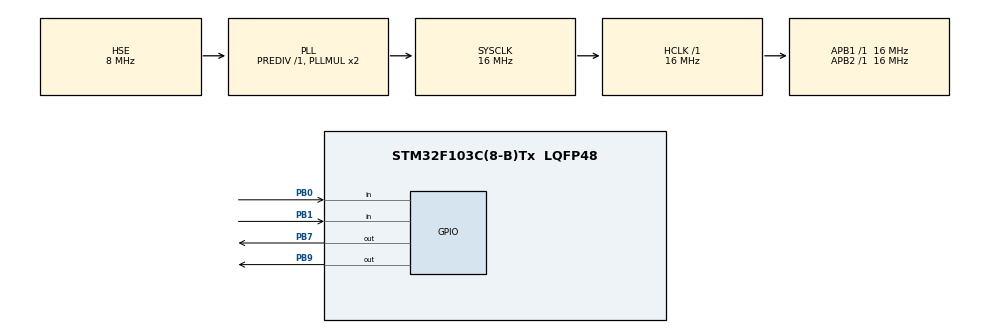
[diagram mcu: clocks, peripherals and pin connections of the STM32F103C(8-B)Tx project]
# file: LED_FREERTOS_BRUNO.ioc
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FREERTOS.Tasks01=defaultTask,24,128,StartDefaultTask,Default,NULL,Dynamic,NULL,NULL
Mcu.Family=STM32F1
Mcu.Name=STM32F103C(8-B)Tx
Mcu.Package=LQFP48
NVIC.PriorityGroup=NVIC_PRIORITYGROUP_4
NVIC.TIM1_UP_IRQn=true\:0\:0\:false\:false\:true\:false\:false\:true\:true
NVIC.TimeBase=TIM1_UP_IRQn
NVIC.TimeBaseIP=TIM1
PA13.Mode=Serial_Wire
PA13.Signal=SYS_JTMS-SWDIO
PA14.Mode=Serial_Wire
PA14.Signal=SYS_JTCK-SWCLK
PB0.GPIO_PuPd=GPIO_PULLUP
PB0.Signal=GPIO_Input
PB1.GPIO_PuPd=GPIO_PULLUP
PB1.Signal=GPIO_Input
PB7.Signal=GPIO_Output
PB9.Signal=GPIO_Output
PD0-OSC_IN.Mode=HSE-External-Oscillator
PD0-OSC_IN.Signal=RCC_OSC_IN
PD1-OSC_OUT.Mode=HSE-External-Oscillator
PD1-OSC_OUT.Signal=RCC_OSC_OUT
ProjectManager.HeapSize=0x200
ProjectManager.StackSize=0x400
ProjectManager.TargetToolchain=STM32CubeIDE
RCC.AHBFreq_Value=16000000
RCC.APB1Freq_Value=16000000
RCC.APB1TimFreq_Value=16000000
RCC.APB2Freq_Value=16000000
RCC.APB2TimFreq_Value=16000000
RCC.HCLKFreq_Value=16000000
RCC.PLLSourceVirtual=RCC_PLLSOURCE_HSE
RCC.SYSCLKFreq_VALUE=16000000
RCC.SYSCLKSource=RCC_SYSCLKSOURCE_PLLCLK
RCC.USBFreq_Value=16000000
VP_FREERTOS_VS_CMSIS_V2.Mode=CMSIS_V2
VP_SYS_VS_tim1.Mode=TIM1
board=custom

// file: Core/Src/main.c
/* USER CODE BEGIN Header */
/**
  ******************************************************************************
  * @file           : main.c
  * @brief          : Main program body
  ******************************************************************************
  * @attention
  *
  * <h2><center>&copy; Copyright (c) 2022 STMicroelectronics.
  * All rights reserved.</center></h2>
  *
  * This software component is licensed by ST under BSD 3-Clause license,
  * the "License"; You may not use this file except in compliance with the
  * License. You may obtain a copy of the License at:
  *                        opensource.org/licenses/BSD-3-Clause
  *
  ******************************************************************************
  */
/* USER CODE END Header */
#include "main.h"
#include "cmsis_os.h"
#include "task.h"

TaskHandle_t task1,task2;

/* Definitions for defaultTask */
osThreadId_t defaultTaskHandle;
const osThreadAttr_t defaultTask_attributes = {
  .name = "defaultTask",
  .priority = (osPriority_t) osPriorityNormal,
  .stack_size = 128 * 4
};

void SystemClock_Config(void);
static void MX_GPIO_Init(void);
void StartDefaultTask(void *argument);

/* USER CODE BEGIN 0 */
void setear_led(int n_led, int estado)
{
	switch(n_led)
	{
		case 0: HAL_GPIO_WritePin(GPIOB, GPIO_PIN_7, (estado)?GPIO_PIN_SET:GPIO_PIN_RESET); break;
		case 1: HAL_GPIO_WritePin(GPIOB, GPIO_PIN_9, (estado)?GPIO_PIN_SET:GPIO_PIN_RESET); break;
	}
}

void LED1()
{
	portTickType xLastWakeTime = xTaskGetTickCount();

	for(;;){

		HAL_GPIO_TogglePin(GPIOB, GPIO_PIN_7);
		vTaskDelayUntil(&xLastWakeTime, (250 / portTICK_RATE_MS));//nunca debe retorna
	}
}

void LED2()
{
	portTickType xLastWakeTime = xTaskGetTickCount();

	for(;;){

		HAL_GPIO_TogglePin(GPIOB, GPIO_PIN_9);
		vTaskDelayUntil(&xLastWakeTime, (250 / portTICK_RATE_MS));//nunca debe retornar
	}
}

void LED_PLACA()
{
	portTickType xLastWakeTime = xTaskGetTickCount();

	for(;;){

		HAL_GPIO_TogglePin(GPIOC, GPIO_PIN_13);
		vTaskDelayUntil(&xLastWakeTime, (250 / portTICK_RATE_MS));//nunca debe retornar
	}
}

void leer_pulsador()
{
	uint8_t boton;

	for(;;)
	{
		if(!HAL_GPIO_ReadPin(GPIOB, GPIO_PIN_0)){//entra si el pulsador esta presionado

			/* Bajo la prioridad de un task en lugar de subir la de este ya que si solo presione un boton,
			 * el otro led debe seguir parpadeando
			 */
			vTaskPrioritySet(task1, 1);//Hago que la prioridad sea la mas alta para que
			boton = 1;									 //al desploquearse los task anteriores no cambie los LED
		}
		else if(boton == 1){

			vTaskPrioritySet(task1, 3);//Hago que la prioridad sea mas baja para que al desbloquarse el task cambie los LED
			boton = 0;//si entro aca me olvido del boton
		}

		if(!HAL_GPIO_ReadPin(GPIOB, GPIO_PIN_1)){//entra si el pulsador esta presionado

			vTaskPrioritySet(task2, 1);//Hago que la prioridad sea la mas alta para que
			boton = 2;											 //al desploquearse los task anteriores no cambie los LED
		}
		else if(boton == 2){

			vTaskPrioritySet(task2, 3);//Hago que la prioridad sea mas baja para que al desbloquarse el task cambie los LED
			boton = 0;//si entro aca me olvido del boton
		}
	}
}

void findelprograma(void)
{
	volatile int32_t i;
	__disable_irq();
	while(1)
	{
		HAL_GPIO_TogglePin(GPIOC, GPIO_PIN_13);
		for(i=0;i<200000; i++);
	}
}
/* USER CODE END 0 */

int main(void)
{

  /* MCU Configuration--------------------------------------------------------*/

  /* Reset of all peripherals, Initializes the Flash interface and the Systick. */
  HAL_Init();

  /* Configure the system clock */
  SystemClock_Config();

  /* Initialize all configured peripherals */
  MX_GPIO_Init();
  //setear_led(0, 1);
  // setear_led(1, 0);
  /* Init scheduler */
  osKernelInitialize();

  if(xTaskCreate(LED1,
    		  	  "LED1",
    			  128,
				  NULL,
    			  3,
    			  &task1)!= pdPASS) findelprograma();

   if(xTaskCreate(LED2,
    		  	  "LED2",
    			  128,
  			      NULL,
    			  3,
    			  &task2)!= pdPASS) findelprograma();

   if(xTaskCreate(LED_PLACA,
   		  	  	  "LED_PLACA",
				  128,
				  NULL,
				  3,
				  NULL)!= pdPASS) findelprograma();

   if(xTaskCreate(leer_pulsador,
		   	   	  "leer_pulsador",
				  128,
				  NULL,
				  2,
				  NULL)!= pdPASS) findelprograma();

  /* Create the thread(s) */
  /* creation of defaultTask */
//  defaultTaskHandle = osThreadNew(StartDefaultTask, NULL, &defaultTask_attributes);

  /* Start scheduler */
  osKernelStart();

  /* We should never get here as control is now taken by the scheduler */
  /* Infinite loop */
  while (1)
  {

  }
}

void SystemClock_Config(void)
{
  RCC_OscInitTypeDef RCC_OscInitStruct = {0};
  RCC_ClkInitTypeDef RCC_ClkInitStruct = {0};

  /** Initializes the RCC Oscillators according to the specified parameters
  * in the RCC_OscInitTypeDef structure.
  */
  RCC_OscInitStruct.OscillatorType = RCC_OSCILLATORTYPE_HSE;
  RCC_OscInitStruct.HSEState = RCC_HSE_ON;
  RCC_OscInitStruct.HSEPredivValue = RCC_HSE_PREDIV_DIV1;
  RCC_OscInitStruct.HSIState = RCC_HSI_ON;
  RCC_OscInitStruct.PLL.PLLState = RCC_PLL_ON;
  RCC_OscInitStruct.PLL.PLLSource = RCC_PLLSOURCE_HSE;
  RCC_OscInitStruct.PLL.PLLMUL = RCC_PLL_MUL2;
  if (HAL_RCC_OscConfig(&RCC_OscInitStruct) != HAL_OK)
  {
    Error_Handler();
  }
  /** Initializes the CPU, AHB and APB buses clocks
  */
  RCC_ClkInitStruct.ClockType = RCC_CLOCKTYPE_HCLK|RCC_CLOCKTYPE_SYSCLK
                              |RCC_CLOCKTYPE_PCLK1|RCC_CLOCKTYPE_PCLK2;
  RCC_ClkInitStruct.SYSCLKSource = RCC_SYSCLKSOURCE_PLLCLK;
  RCC_ClkInitStruct.AHBCLKDivider = RCC_SYSCLK_DIV1;
  RCC_ClkInitStruct.APB1CLKDivider = RCC_HCLK_DIV1;
  RCC_ClkInitStruct.APB2CLKDivider = RCC_HCLK_DIV1;

  if (HAL_RCC_ClockConfig(&RCC_ClkInitStruct, FLASH_LATENCY_0) != HAL_OK)
  {
    Error_Handler();
  }
}

static void MX_GPIO_Init(void)
{
  GPIO_InitTypeDef GPIO_InitStruct = {0};

  /* GPIO Ports Clock Enable */
  __HAL_RCC_GPIOD_CLK_ENABLE();
  __HAL_RCC_GPIOB_CLK_ENABLE();
  __HAL_RCC_GPIOA_CLK_ENABLE();

  /*Configure GPIO pin Output Level */
  HAL_GPIO_WritePin(GPIOB, GPIO_PIN_7|GPIO_PIN_9, GPIO_PIN_RESET);

  /*Configure GPIO pins : PB0 PB1 */
  GPIO_InitStruct.Pin = GPIO_PIN_0|GPIO_PIN_1;
  GPIO_InitStruct.Mode = GPIO_MODE_INPUT;
  GPIO_InitStruct.Pull = GPIO_PULLUP;
  HAL_GPIO_Init(GPIOB, &GPIO_InitStruct);

  /*Configure GPIO pins : PB7 PB9 */
  GPIO_InitStruct.Pin = GPIO_PIN_7|GPIO_PIN_9;
  GPIO_InitStruct.Mode = GPIO_MODE_OUTPUT_PP;
  GPIO_InitStruct.Pull = GPIO_NOPULL;
  GPIO_InitStruct.Speed = GPIO_SPEED_FREQ_LOW;
  HAL_GPIO_Init(GPIOB, &GPIO_InitStruct);

}

void StartDefaultTask(void *argument)
{
  for(;;)
  {
    osDelay(1);
  }
}

void HAL_TIM_PeriodElapsedCallback(TIM_HandleTypeDef *htim)
{
  if (htim->Instance == TIM1) {
    HAL_IncTick();
  }
}

void Error_Handler(void)
{
}

/************************ (C) COPYRIGHT STMicroelectronics *****END OF FILE****/
